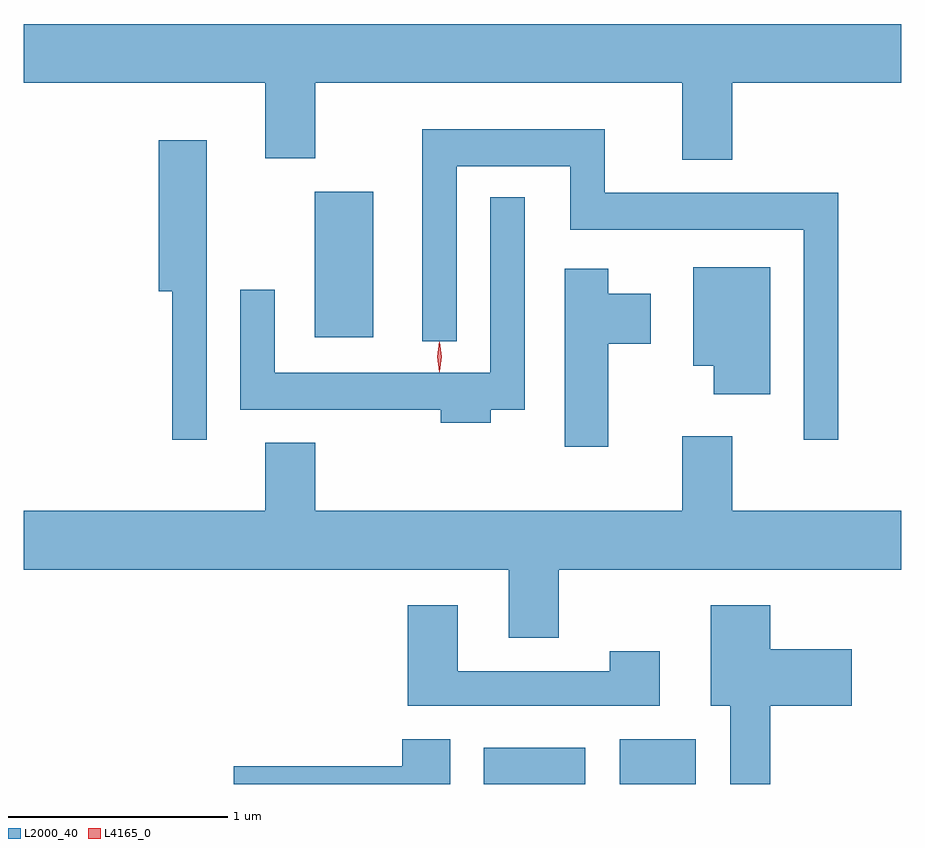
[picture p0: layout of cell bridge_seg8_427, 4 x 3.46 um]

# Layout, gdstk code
import gdstk
lib = gdstk.Library(unit=1e-6, precision=1e-09)
def R(c, l, rs):  # rectangles x0, y0, x1, y1
    for r in rs: c.add(gdstk.rectangle(r[:2], r[2:], *l))
def P(c, l, *ps):  # polygons
    for p in ps: c.add(gdstk.Polygon(p, *l))
L2000_40 = (2000, 40)
L4165_0 = (4165, 0)

bridge_seg8_427 = lib.new_cell('bridge_seg8_427')
R(bridge_seg8_427, L2000_40, [(986.376,1817.679,986.839,1817.844), (986.996,1817.679,987.344,1817.884), (985.606,1819.716,985.874,1820.379)])
P(bridge_seg8_427, L2000_40, [(987.509,1820.876),(988.28,1820.876),(988.28,1821.144),(984.28,1821.144),(984.28,1820.876),(985.381,1820.876),(985.381,1820.531),(985.609,1820.531),(985.609,1820.876),(987.281,1820.876),(987.281,1820.526),(987.509,1820.526)],
  [(987.994,1820.374),(986.929,1820.374),(986.929,1820.664),(986.096,1820.664),(986.096,1819.698),(986.254,1819.698),(986.254,1820.496),(986.771,1820.496),(986.771,1820.206),(987.836,1820.206),(987.836,1819.248),(987.994,1819.248)],
  [(985.114,1820.614),(984.896,1820.614),(984.896,1819.926),(984.956,1819.926),(984.956,1819.248),(985.114,1819.248)],
  [(986.409,1819.386),(986.564,1819.386),(986.564,1820.353),(986.406,1820.353),(986.406,1819.554),(985.424,1819.554),(985.424,1819.933),(985.266,1819.933),(985.266,1819.386),(986.181,1819.386),(986.181,1819.326),(986.409,1819.326)],
  [(987.684,1820.034),(987.331,1820.034),(987.331,1819.586),(987.426,1819.586),(987.426,1819.456),(987.684,1819.456)],
  [(986.944,1819.686),(987.139,1819.686),(987.139,1819.914),(986.944,1819.914),(986.944,1820.029),(986.746,1820.029),(986.746,1819.216),(986.944,1819.216)],
  [(986.719,1818.656),(988.28,1818.656),(988.28,1818.924),(987.509,1818.924),(987.509,1819.264),(987.281,1819.264),(987.281,1818.924),(985.609,1818.924),(985.609,1819.234),(985.381,1819.234),(985.381,1818.924),(984.28,1818.924),(984.28,1818.656),(986.491,1818.656),(986.491,1818.346),(986.719,1818.346)],
  [(987.179,1818.284),(986.951,1818.284),(986.951,1818.194),(986.259,1818.194),(986.259,1818.494),(986.031,1818.494),(986.031,1818.036),(987.179,1818.036)],
  [(987.684,1818.036),(988.054,1818.036),(988.054,1818.294),(987.684,1818.294),(987.684,1818.494),(987.411,1818.494),(987.411,1818.036),(987.501,1818.036),(987.501,1817.679),(987.684,1817.679)],
  [(986.224,1817.884),(986.006,1817.884),(986.006,1817.759),(985.236,1817.759),(985.236,1817.679),(986.224,1817.679)])
P(bridge_seg8_427, L4165_0, [(986.174,1819.557),(986.173,1819.558),(986.164,1819.626),(986.173,1819.696),(986.174,1819.696),(986.174,1819.696),(986.184,1819.626),(986.174,1819.558)],
  [(986.177,1819.559),(986.176,1819.56),(986.166,1819.626),(986.176,1819.692),(986.176,1819.693),(986.177,1819.692),(986.186,1819.626),(986.177,1819.56)])

lib.write_gds('bridge_seg8_427.gds')
